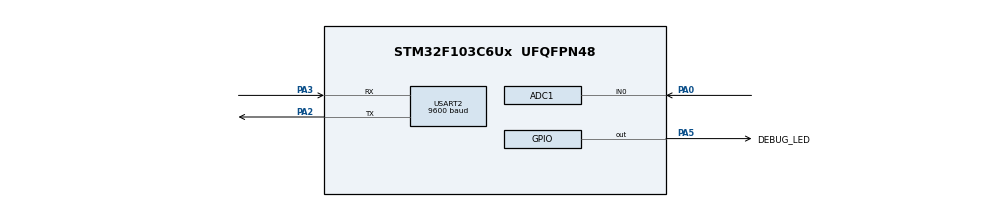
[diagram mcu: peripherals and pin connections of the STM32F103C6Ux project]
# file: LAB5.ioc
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ADC1.Channel-0\#ChannelRegularConversion=ADC_CHANNEL_0
ADC1.ContinuousConvMode=ENABLE
ADC1.NbrOfConversionFlag=1
ADC1.Rank-0\#ChannelRegularConversion=1
ADC1.SamplingTime-0\#ChannelRegularConversion=ADC_SAMPLETIME_1CYCLE_5
ADC1.master=1
Mcu.Family=STM32F1
Mcu.Name=STM32F103C6Ux
Mcu.Package=UFQFPN48
NVIC.PriorityGroup=NVIC_PRIORITYGROUP_4
NVIC.TIM2_IRQn=true\:0\:0\:false\:false\:true\:true\:true\:true
NVIC.USART2_IRQn=true\:0\:0\:false\:false\:true\:true\:true\:true
PA0-WKUP.Signal=ADCx_IN0
PA13.Mode=Serial_Wire
PA13.Signal=SYS_JTMS-SWDIO
PA14.Mode=Serial_Wire
PA14.Signal=SYS_JTCK-SWCLK
PA2.Mode=Asynchronous
PA2.Signal=USART2_TX
PA3.Mode=Asynchronous
PA3.Signal=USART2_RX
PA5.GPIO_Label=DEBUG_LED
PA5.Signal=GPIO_Output
ProjectManager.HeapSize=0x200
ProjectManager.StackSize=0x400
ProjectManager.TargetToolchain=STM32CubeIDE
RCC.APB1Freq_Value=8000000
RCC.APB2Freq_Value=8000000
SH.ADCx_IN0.0=ADC1_IN0,IN0
TIM2.Period=9
TIM2.Prescaler=799
USART2.BaudRate=9600
USART2.VirtualMode=VM_ASYNC
VP_TIM2_VS_ClockSourceINT.Mode=Internal
board=custom

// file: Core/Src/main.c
/* USER CODE BEGIN Header */
/**
  ******************************************************************************
  * @file           : main.c
  * @brief          : Main program body
  ******************************************************************************
  * @attention
  *
  * <h2><center>&copy; Copyright (c) 2025 STMicroelectronics.
  * All rights reserved.</center></h2>
  *
  * This software component is licensed by ST under BSD 3-Clause license,
  * the "License"; You may not use this file except in compliance with the
  * License. You may obtain a copy of the License at:
  *                        opensource.org/licenses/BSD-3-Clause
  *
  ******************************************************************************
  */
/* USER CODE END Header */
#include "main.h"
#include "uart.h"
#include "software_timer.h"

ADC_HandleTypeDef hadc1;

TIM_HandleTypeDef htim2;

UART_HandleTypeDef huart2;

/* USER CODE BEGIN PV */
uint8_t rx_byte = 0;
/* USER CODE END PV */

void SystemClock_Config(void);
static void MX_GPIO_Init(void);
static void MX_ADC1_Init(void);
static void MX_USART2_UART_Init(void);
static void MX_TIM2_Init(void);

int main(void)
{

  /* MCU Configuration--------------------------------------------------------*/

  /* Reset of all peripherals, Initializes the Flash interface and the Systick. */
  HAL_Init();

  /* Configure the system clock */
  SystemClock_Config();

  /* Initialize all configured peripherals */
  MX_GPIO_Init();
  MX_USART2_UART_Init();
  MX_ADC1_Init();
  MX_TIM2_Init();
  /* USER CODE BEGIN 2 */
  HAL_TIM_Base_Start_IT(&htim2);
  HAL_ADC_Start(&hadc1);
  HAL_UART_Receive_IT(&huart2 , &rx_byte, 1);
  /* USER CODE END 2 */

  /* Infinite loop */
  /* USER CODE BEGIN WHILE */
  timerSet(0, 1000);
  while (1)
  {
	if (buffer_is_flag()) {
		command_parser_fsm();
		reset_flag();
	}
	uart_communication_fsm();

	if (timerFlag(0)){
		timerSet(0, 1000);
		HAL_GPIO_TogglePin(DEBUG_LED_GPIO_Port, DEBUG_LED_Pin);
	}
    /* USER CODE END WHILE */

  }
}

void SystemClock_Config(void)
{
  RCC_OscInitTypeDef RCC_OscInitStruct = {0};
  RCC_ClkInitTypeDef RCC_ClkInitStruct = {0};
  RCC_PeriphCLKInitTypeDef PeriphClkInit = {0};

  /** Initializes the RCC Oscillators according to the specified parameters
  * in the RCC_OscInitTypeDef structure.
  */
  RCC_OscInitStruct.OscillatorType = RCC_OSCILLATORTYPE_HSI;
  RCC_OscInitStruct.HSIState = RCC_HSI_ON;
  RCC_OscInitStruct.HSICalibrationValue = RCC_HSICALIBRATION_DEFAULT;
  RCC_OscInitStruct.PLL.PLLState = RCC_PLL_NONE;
  if (HAL_RCC_OscConfig(&RCC_OscInitStruct) != HAL_OK)
  {
    Error_Handler();
  }

  /** Initializes the CPU, AHB and APB buses clocks
  */
  RCC_ClkInitStruct.ClockType = RCC_CLOCKTYPE_HCLK|RCC_CLOCKTYPE_SYSCLK
                              |RCC_CLOCKTYPE_PCLK1|RCC_CLOCKTYPE_PCLK2;
  RCC_ClkInitStruct.SYSCLKSource = RCC_SYSCLKSOURCE_HSI;
  RCC_ClkInitStruct.AHBCLKDivider = RCC_SYSCLK_DIV1;
  RCC_ClkInitStruct.APB1CLKDivider = RCC_HCLK_DIV1;
  RCC_ClkInitStruct.APB2CLKDivider = RCC_HCLK_DIV1;

  if (HAL_RCC_ClockConfig(&RCC_ClkInitStruct, FLASH_LATENCY_0) != HAL_OK)
  {
    Error_Handler();
  }
  PeriphClkInit.PeriphClockSelection = RCC_PERIPHCLK_ADC;
  PeriphClkInit.AdcClockSelection = RCC_ADCPCLK2_DIV2;
  if (HAL_RCCEx_PeriphCLKConfig(&PeriphClkInit) != HAL_OK)
  {
    Error_Handler();
  }
}

static void MX_ADC1_Init(void)
{

  ADC_ChannelConfTypeDef sConfig = {0};

  /** Common config
  */
  hadc1.Instance = ADC1;
  hadc1.Init.ScanConvMode = ADC_SCAN_DISABLE;
  hadc1.Init.ContinuousConvMode = ENABLE;
  hadc1.Init.DiscontinuousConvMode = DISABLE;
  hadc1.Init.ExternalTrigConv = ADC_SOFTWARE_START;
  hadc1.Init.DataAlign = ADC_DATAALIGN_RIGHT;
  hadc1.Init.NbrOfConversion = 1;
  if (HAL_ADC_Init(&hadc1) != HAL_OK)
  {
    Error_Handler();
  }

  /** Configure Regular Channel
  */
  sConfig.Channel = ADC_CHANNEL_0;
  sConfig.Rank = ADC_REGULAR_RANK_1;
  sConfig.SamplingTime = ADC_SAMPLETIME_1CYCLE_5;
  if (HAL_ADC_ConfigChannel(&hadc1, &sConfig) != HAL_OK)
  {
    Error_Handler();
  }

}

static void MX_TIM2_Init(void)
{

  TIM_ClockConfigTypeDef sClockSourceConfig = {0};
  TIM_MasterConfigTypeDef sMasterConfig = {0};

  htim2.Instance = TIM2;
  htim2.Init.Prescaler = 799;
  htim2.Init.CounterMode = TIM_COUNTERMODE_UP;
  htim2.Init.Period = 9;
  htim2.Init.ClockDivision = TIM_CLOCKDIVISION_DIV1;
  htim2.Init.AutoReloadPreload = TIM_AUTORELOAD_PRELOAD_DISABLE;
  if (HAL_TIM_Base_Init(&htim2) != HAL_OK)
  {
    Error_Handler();
  }
  sClockSourceConfig.ClockSource = TIM_CLOCKSOURCE_INTERNAL;
  if (HAL_TIM_ConfigClockSource(&htim2, &sClockSourceConfig) != HAL_OK)
  {
    Error_Handler();
  }
  sMasterConfig.MasterOutputTrigger = TIM_TRGO_RESET;
  sMasterConfig.MasterSlaveMode = TIM_MASTERSLAVEMODE_DISABLE;
  if (HAL_TIMEx_MasterConfigSynchronization(&htim2, &sMasterConfig) != HAL_OK)
  {
    Error_Handler();
  }

}

static void MX_USART2_UART_Init(void)
{

  huart2.Instance = USART2;
  huart2.Init.BaudRate = 9600;
  huart2.Init.WordLength = UART_WORDLENGTH_8B;
  huart2.Init.StopBits = UART_STOPBITS_1;
  huart2.Init.Parity = UART_PARITY_NONE;
  huart2.Init.Mode = UART_MODE_TX_RX;
  huart2.Init.HwFlowCtl = UART_HWCONTROL_NONE;
  huart2.Init.OverSampling = UART_OVERSAMPLING_16;
  if (HAL_UART_Init(&huart2) != HAL_OK)
  {
    Error_Handler();
  }

}

static void MX_GPIO_Init(void)
{
  GPIO_InitTypeDef GPIO_InitStruct = {0};

  /* GPIO Ports Clock Enable */
  __HAL_RCC_GPIOA_CLK_ENABLE();

  /*Configure GPIO pin Output Level */
  HAL_GPIO_WritePin(DEBUG_LED_GPIO_Port, DEBUG_LED_Pin, GPIO_PIN_RESET);

  /*Configure GPIO pin : DEBUG_LED_Pin */
  GPIO_InitStruct.Pin = DEBUG_LED_Pin;
  GPIO_InitStruct.Mode = GPIO_MODE_OUTPUT_PP;
  GPIO_InitStruct.Pull = GPIO_NOPULL;
  GPIO_InitStruct.Speed = GPIO_SPEED_FREQ_LOW;
  HAL_GPIO_Init(DEBUG_LED_GPIO_Port, &GPIO_InitStruct);

}

/* USER CODE BEGIN 4 */
void HAL_TIM_PeriodElapsedCallback(TIM_HandleTypeDef *htim) {
    if (htim->Instance == TIM2) {
        timerRun();
    }
}

void HAL_UART_RxCpltCallback (UART_HandleTypeDef *huart)
{
	if (huart->Instance == USART2)
	{
		HAL_UART_Transmit(&huart2, &rx_byte, 1, HAL_MAX_DELAY); //loopback to display on terminal
		get_rx_msg(rx_byte);
		HAL_UART_Receive_IT(&huart2, &rx_byte, 1);			//resart uart callback

	}
}
/* USER CODE END 4 */

void Error_Handler(void)
{
  __disable_irq();
  while (1)
  {
  }
}
